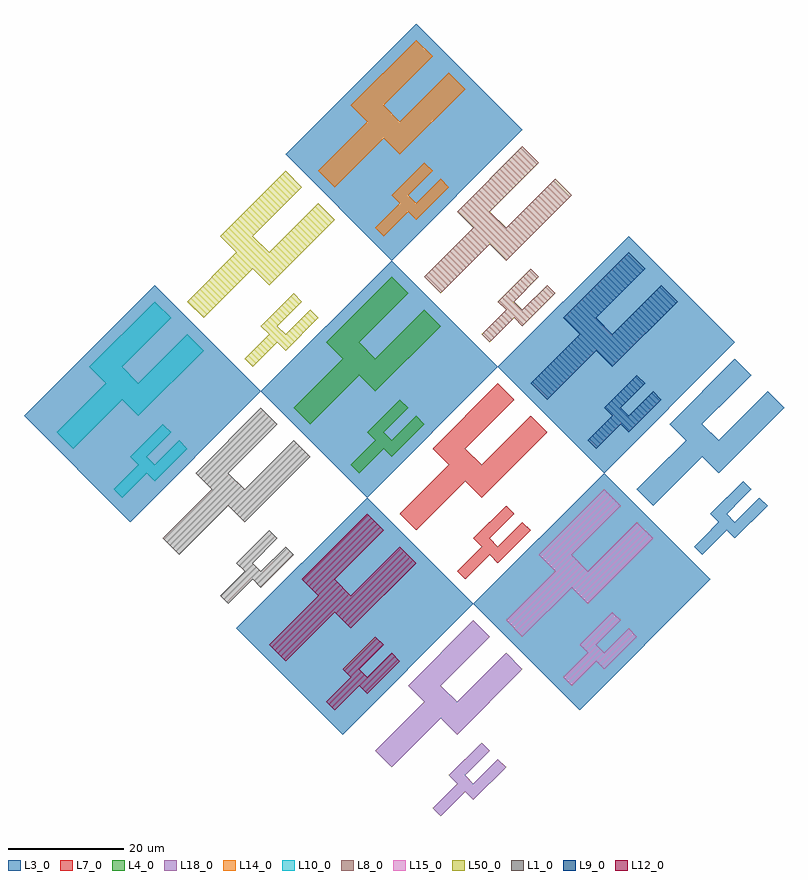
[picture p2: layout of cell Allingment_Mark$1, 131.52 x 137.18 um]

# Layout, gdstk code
import gdstk
lib = gdstk.Library(unit=1e-6, precision=1e-09)
def P(c, l, *ps):  # polygons
    for p in ps: c.add(gdstk.Polygon(p, *l))
L1_0 = (1, 0)
L3_0 = (3, 0)
L4_0 = (4, 0)
L7_0 = (7, 0)
L8_0 = (8, 0)
L9_0 = (9, 0)
L10_0 = (10, 0)
L12_0 = (12, 0)
L14_0 = (14, 0)
L15_0 = (15, 0)
L18_0 = (18, 0)
L50_0 = (50, 0)

allingment_mark_1 = lib.new_cell('Allingment_Mark$1')
P(allingment_mark_1, L1_0, [(386.928,-229.306),(384.1,-226.477),(392.585,-217.992),(389.757,-215.163),(401.07,-203.85),(403.899,-206.678),(395.413,-215.163),(398.242,-217.992),(406.727,-209.507),(409.556,-212.335),(398.242,-223.649),(395.413,-220.82)],
  [(395.413,-237.791),(393.999,-236.377),(398.242,-232.134),(396.828,-230.72),(402.484,-225.063),(403.899,-226.477),(399.656,-230.72),(401.07,-232.134),(405.313,-227.891),(406.727,-229.306),(401.07,-234.962),(399.656,-233.548)])
P(allingment_mark_1, L3_0, [(460.467,-215.163),(442.082,-196.779),(464.71,-174.151),(483.095,-192.536)],
  [(474.609,-209.507),(471.781,-206.678),(483.095,-195.364),(485.923,-198.193)],
  [(480.266,-215.163),(477.438,-212.335),(488.752,-201.021),(491.58,-203.85)],
  [(468.953,-220.82),(466.124,-217.992),(477.438,-206.678),(480.266,-209.507)],
  [(483.095,-226.477),(481.68,-225.063),(487.337,-219.406),(488.752,-220.82)],
  [(477.438,-229.306),(476.024,-227.891),(481.68,-222.234),(483.095,-223.649)],
  [(419.455,-219.406),(401.07,-201.021),(423.698,-178.394),(442.082,-196.779)],
  [(456.225,-256.176),(437.84,-237.791),(460.467,-215.163),(478.852,-233.548)],
  [(378.443,-223.649),(360.058,-205.264),(382.685,-182.636),(401.07,-201.021)],
  [(415.212,-260.418),(396.828,-242.033),(419.455,-219.406),(437.84,-237.791)],
  [(423.698,-178.394),(405.313,-160.009),(427.94,-137.382),(446.325,-155.766)],
  [(480.266,-223.649),(478.852,-222.234),(484.509,-216.578),(485.923,-217.992)])
P(allingment_mark_1, L4_0, [(409.556,-206.678),(406.727,-203.85),(415.212,-195.364),(412.384,-192.536),(423.698,-181.222),(426.526,-184.051),(418.041,-192.536),(420.869,-195.364),(429.355,-186.879),(432.183,-189.708),(420.869,-201.021),(418.041,-198.193)],
  [(418.041,-215.163),(416.627,-213.749),(420.869,-209.507),(419.455,-208.092),(425.112,-202.435),(426.526,-203.85),(422.283,-208.092),(423.698,-209.507),(427.94,-205.264),(429.355,-206.678),(423.698,-212.335),(422.283,-210.921)])
P(allingment_mark_1, L7_0, [(427.94,-225.063),(425.112,-222.234),(433.597,-213.749),(430.769,-210.921),(442.082,-199.607),(444.911,-202.435),(436.426,-210.921),(439.254,-213.749),(447.739,-205.264),(450.568,-208.092),(439.254,-219.406),(436.426,-216.578)],
  [(436.426,-233.548),(435.011,-232.134),(439.254,-227.891),(437.84,-226.477),(443.497,-220.82),(444.911,-222.234),(440.668,-226.477),(442.082,-227.891),(446.325,-223.649),(447.739,-225.063),(442.082,-230.72),(440.668,-229.306)])
P(allingment_mark_1, L8_0, [(432.183,-184.051),(429.355,-181.222),(437.84,-172.737),(435.011,-169.909),(446.325,-158.595),(449.154,-161.423),(440.668,-169.909),(443.497,-172.737),(451.982,-164.252),(454.81,-167.08),(443.497,-178.394),(440.668,-175.565)],
  [(440.668,-192.536),(439.254,-191.122),(443.497,-186.879),(442.082,-185.465),(447.739,-179.808),(449.154,-181.222),(444.911,-185.465),(446.325,-186.879),(450.568,-182.636),(451.982,-184.051),(446.325,-189.708),(444.911,-188.293)])
P(allingment_mark_1, L9_0, [(450.568,-202.435),(447.739,-199.607),(456.225,-191.122),(453.396,-188.293),(464.71,-176.98),(467.538,-179.808),(459.053,-188.293),(461.881,-191.122),(470.367,-182.636),(473.195,-185.465),(461.881,-196.779),(459.053,-193.95)],
  [(459.053,-210.921),(457.639,-209.507),(461.881,-205.264),(460.467,-203.85),(466.124,-198.193),(467.538,-199.607),(463.296,-203.85),(464.71,-205.264),(468.953,-201.021),(470.367,-202.435),(464.71,-208.092),(463.296,-206.678)])
P(allingment_mark_1, L10_0, [(368.543,-210.921),(365.715,-208.092),(374.2,-199.607),(371.372,-196.779),(382.685,-185.465),(385.514,-188.293),(377.029,-196.779),(379.857,-199.607),(388.342,-191.122),(391.171,-193.95),(379.857,-205.264),(377.029,-202.435)],
  [(377.029,-219.406),(375.614,-217.992),(379.857,-213.749),(378.443,-212.335),(384.1,-206.678),(385.514,-208.092),(381.271,-212.335),(382.685,-213.749),(386.928,-209.507),(388.342,-210.921),(382.685,-216.578),(381.271,-215.163)])
P(allingment_mark_1, L12_0, [(405.313,-247.69),(402.484,-244.862),(410.97,-236.377),(408.141,-233.548),(419.455,-222.234),(422.283,-225.063),(413.798,-233.548),(416.627,-236.377),(425.112,-227.891),(427.94,-230.72),(416.627,-242.033),(413.798,-239.205)],
  [(413.798,-256.176),(412.384,-254.761),(416.627,-250.519),(415.212,-249.105),(420.869,-243.448),(422.283,-244.862),(418.041,-249.105),(419.455,-250.519),(423.698,-246.276),(425.112,-247.69),(419.455,-253.347),(418.041,-251.933)])
P(allingment_mark_1, L14_0, [(413.798,-165.666),(410.97,-162.837),(419.455,-154.352),(416.627,-151.524),(427.94,-140.21),(430.769,-143.039),(422.283,-151.524),(425.112,-154.352),(433.597,-145.867),(436.426,-148.695),(425.112,-160.009),(422.283,-157.181)],
  [(422.283,-174.151),(420.869,-172.737),(425.112,-168.494),(423.698,-167.08),(429.355,-161.423),(430.769,-162.837),(426.526,-167.08),(427.94,-168.494),(432.183,-164.252),(433.597,-165.666),(427.94,-171.323),(426.526,-169.909)])
P(allingment_mark_1, L15_0, [(446.325,-243.448),(443.497,-240.619),(451.982,-232.134),(449.154,-229.306),(460.467,-217.992),(463.296,-220.82),(454.81,-229.306),(457.639,-232.134),(466.124,-223.649),(468.953,-226.477),(457.639,-237.791),(454.81,-234.962)],
  [(454.81,-251.933),(453.396,-250.519),(457.639,-246.276),(456.225,-244.862),(461.881,-239.205),(463.296,-240.619),(459.053,-244.862),(460.467,-246.276),(464.71,-242.033),(466.124,-243.448),(460.467,-249.105),(459.053,-247.69)])
P(allingment_mark_1, L18_0, [(423.698,-266.075),(420.869,-263.247),(429.355,-254.761),(426.526,-251.933),(437.84,-240.619),(440.668,-243.448),(432.183,-251.933),(435.011,-254.761),(443.497,-246.276),(446.325,-249.105),(435.011,-260.418),(432.183,-257.59)],
  [(432.183,-274.56),(430.769,-273.146),(435.011,-268.904),(433.597,-267.489),(439.254,-261.832),(440.668,-263.247),(436.426,-267.489),(437.84,-268.904),(442.082,-264.661),(443.497,-266.075),(437.84,-271.732),(436.426,-270.318)])
P(allingment_mark_1, L50_0, [(391.171,-188.293),(388.342,-185.465),(396.828,-176.98),(393.999,-174.151),(405.313,-162.837),(408.141,-165.666),(399.656,-174.151),(402.484,-176.98),(410.97,-168.494),(413.798,-171.323),(402.484,-182.636),(399.656,-179.808)],
  [(399.656,-196.779),(398.242,-195.364),(402.484,-191.122),(401.07,-189.708),(406.727,-184.051),(408.141,-185.465),(403.899,-189.708),(405.313,-191.122),(409.556,-186.879),(410.97,-188.293),(405.313,-193.95),(403.899,-192.536)])

lib.write_gds('Allingment_Mark_1.gds')
